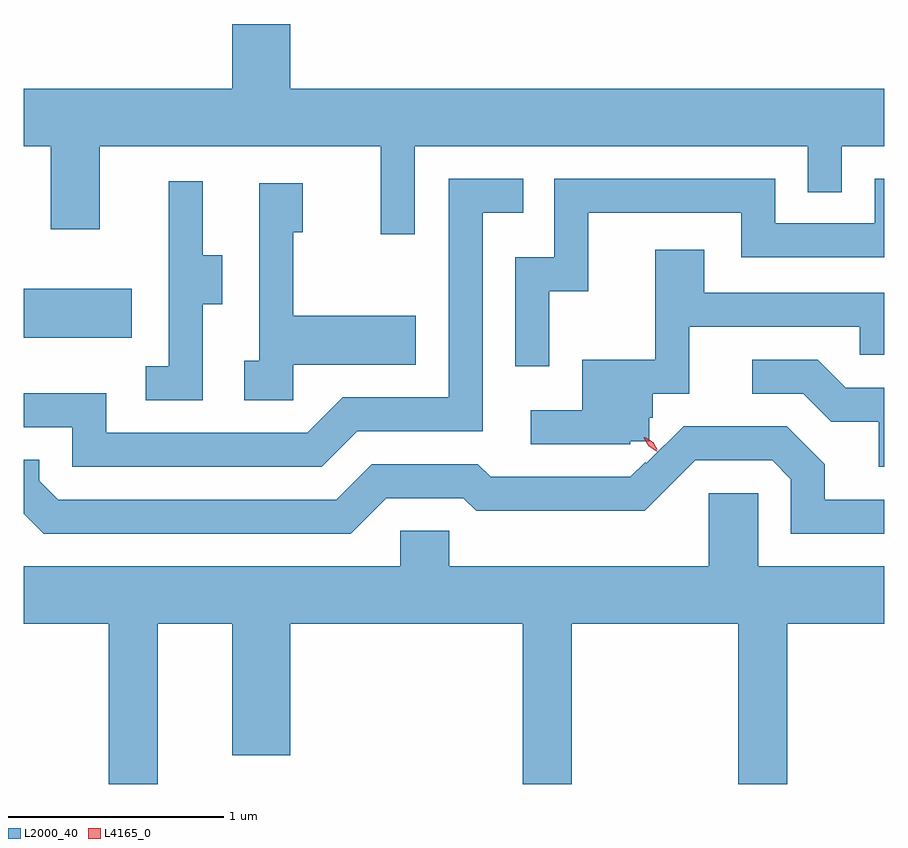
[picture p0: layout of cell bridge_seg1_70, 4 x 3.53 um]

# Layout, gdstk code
import gdstk
lib = gdstk.Library(unit=1e-6, precision=1e-09)
def R(c, l, rs):  # rectangles x0, y0, x1, y1
    for r in rs: c.add(gdstk.rectangle(r[:2], r[2:], *l))
def P(c, l, *ps):  # polygons
    for p in ps: c.add(gdstk.Polygon(p, *l))
L2000_40 = (2000, 40)
L4165_0 = (4165, 0)

bridge_seg1_70 = lib.new_cell('bridge_seg1_70')
R(bridge_seg1_70, L2000_40, [(1892.426,849.846,1892.929,850.074)])
P(bridge_seg1_70, L2000_40, [(1894.244,850.736),(1896.071,850.736),(1896.071,850.523),(1896.229,850.523),(1896.229,850.736),(1896.426,850.736),(1896.426,851.004),(1893.664,851.004),(1893.664,851.304),(1893.396,851.304),(1893.396,851.004),(1892.426,851.004),(1892.426,850.736),(1892.551,850.736),(1892.551,850.351),(1892.779,850.351),(1892.779,850.736),(1894.086,850.736),(1894.086,850.328),(1894.244,850.328)],
  [(1893.977,849.411),(1894.559,849.411),(1894.559,850.426),(1894.748,850.426),(1894.748,850.584),(1894.401,850.584),(1894.401,849.569),(1893.909,849.569),(1893.744,849.404),(1892.809,849.404),(1892.809,849.589),(1892.426,849.589),(1892.426,849.431),(1892.651,849.431),(1892.651,849.246),(1893.812,849.246)],
  [(1894.869,850.061),(1895.049,850.061),(1895.049,850.426),(1895.761,850.426),(1895.761,850.221),(1896.426,850.221),(1896.426,850.584),(1896.381,850.584),(1896.381,850.379),(1895.919,850.379),(1895.919,850.584),(1894.891,850.584),(1894.891,850.219),(1894.711,850.219),(1894.711,849.713),(1894.869,849.713)],
  [(1893.259,850.001),(1893.349,850.001),(1893.349,850.229),(1893.259,850.229),(1893.259,850.573),(1893.101,850.573),(1893.101,849.714),(1892.993,849.714),(1892.993,849.556),(1893.259,849.556)],
  [(1893.679,849.721),(1894.249,849.721),(1894.249,849.949),(1893.679,849.949),(1893.679,850.336),(1893.724,850.336),(1893.724,850.564),(1893.521,850.564),(1893.521,849.739),(1893.451,849.739),(1893.451,849.556),(1893.679,849.556)],
  [(1895.246,849.365),(1895.334,849.365),(1895.334,849.473),(1895.349,849.473),(1895.349,849.586),(1895.519,849.586),(1895.519,849.896),(1896.311,849.896),(1896.311,849.766),(1896.426,849.766),(1896.426,850.054),(1895.589,850.054),(1895.589,850.254),(1895.361,850.254),(1895.361,849.744),(1895.021,849.744),(1895.021,849.509),(1894.783,849.509),(1894.783,849.351),(1895.246,849.351)],
  [(1896.426,849.614),(1896.247,849.614),(1896.117,849.744),(1895.813,849.744),(1895.813,849.586),(1896.049,849.586),(1896.179,849.456),(1896.401,849.456),(1896.401,849.246),(1896.426,849.246)],
  [(1894.112,849.101),(1894.469,849.101),(1894.529,849.041),(1895.312,849.041),(1895.547,849.276),(1895.904,849.276),(1895.991,849.189),(1895.991,848.936),(1896.426,848.936),(1896.426,849.094),(1896.149,849.094),(1896.149,849.257),(1895.972,849.434),(1895.493,849.434),(1895.32,849.262),(1895.314,849.267),(1895.246,849.199),(1894.597,849.199),(1894.537,849.259),(1894.044,849.259),(1893.879,849.094),(1892.587,849.094),(1892.499,849.182),(1892.499,849.279),(1892.426,849.279),(1892.426,849.029),(1892.519,848.936),(1893.947,848.936)],
  [(1893.049,848.516),(1893.396,848.516),(1893.396,847.906),(1893.664,847.906),(1893.664,848.516),(1894.746,848.516),(1894.746,847.772),(1894.974,847.772),(1894.974,848.516),(1895.746,848.516),(1895.746,847.772),(1895.974,847.772),(1895.974,848.516),(1896.426,848.516),(1896.426,848.784),(1895.839,848.784),(1895.839,849.124),(1895.611,849.124),(1895.611,848.784),(1894.404,848.784),(1894.404,848.949),(1894.176,848.949),(1894.176,848.784),(1892.426,848.784),(1892.426,848.516),(1892.821,848.516),(1892.821,847.772),(1893.049,847.772)])
P(bridge_seg1_70, L4165_0, [(1895.37,849.315),(1895.332,849.342),(1895.308,849.382),(1895.308,849.383),(1895.309,849.383),(1895.347,849.355),(1895.37,849.316),(1895.37,849.315)],
  [(1895.374,849.322),(1895.337,849.346),(1895.315,849.383),(1895.315,849.383),(1895.315,849.383),(1895.352,849.36),(1895.374,849.323),(1895.374,849.322)])

lib.write_gds('bridge_seg1_70.gds')
